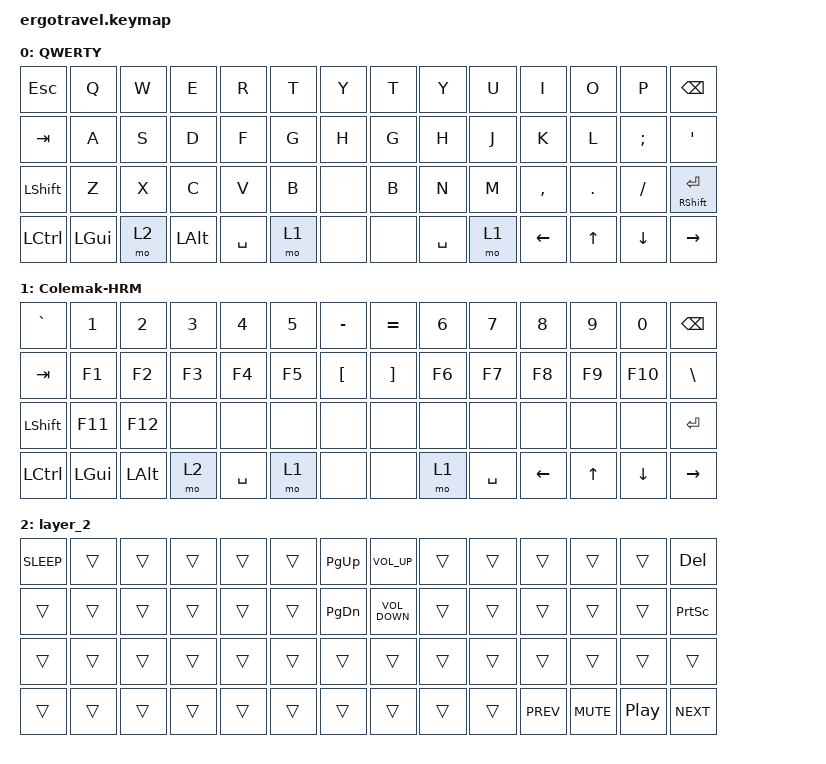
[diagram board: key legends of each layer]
// add anti-idle-mode

#include <behaviors/anti_idle_mode.dtsi>
#include <dt-bindings/anti_idle_mode.h>

// add pointing/mouse support

#define ZMK_POINTING_DEFAULT_SCRL_VAL 30    // default: 10

#include <dt-bindings/zmk/mouse.h>
#include <behaviors.dtsi>
#include <dt-bindings/zmk/keys.h>

#define QTY_HR 0    // QWERTY w/ HRM
#define QTY 1       // QWERTY
#define CMK_HR 2    // Colemak w/ HRM
#define CMK 3       // Colemak
#define CMR 4       // Colemak Reversed
#define TRN 5       // Transparent (basic querty)
#define LOW 6       // Lower
#define RSE 7       // Raise
#define ADJ 8       // Adjust
#define FUN 9       // Function/Media
#define MAX 10      // Maxtend
#define MSE 11      // Mouse
#define NSP 12      // NumSpace
#define NTB 13      // NumTab (currently unused)
#define AGR 14      // AltGr (for Windows Umlauts via Alt+Numpad)
#define AGS 15      // AltGr+Shift (for Windows uppercase Umlauts via Alt+Numpad)
#define AJ2 16      // Adjust 2 = Adjust+LShift (additional control functions)

&lt { quick-tap-ms = <200>; };

&caps_word {
    continue-list = <UNDERSCORE BACKSPACE DELETE SEMI>;

    // SEMI is added here because QWERTY semicolon is letter 'O' in Colemak. Unfortunately, it doesn't automatically get shifted.
};

/ {
    // configure anti-idle.
    // in the keymap, bind &aim AIM_ON, &aim AIM_OFF, or &aim AIM_TOG to keys as desired.

    anti_idle {
        compatible = "zmk,anti-idle-generic";
        interval-ms = <9000>; // How often to send actions (ms)
        bindings = <&mmv MOVE_DOWN &mmv MOVE_RIGHT &mmv MOVE_UP &mmv MOVE_LEFT>; // Actions to perform (e.g., mouse move)
        tap_ms = <60>;   // Duration of each action (ms)
        wait_ms = <300>; // Delay between actions (ms)
    };

    // This keymap has a distinct ADJUST button, so tri-layer functionality (LOWER + RAISE => ADJUST) is not needed, 
    // and actually prevents activating the layer using only the ADJUST button.
    //
    //    conditional_layers {
    //        compatible = "zmk,conditional-layers";
    //        tri_layer {
    //            if-layers = <LOW RSE>;
    //            then-layer = <ADJ>;
    //        };
    //    };

    behaviors {
        mup: mute_unmute_ptt {
            compatible = "zmk,behavior-hold-tap";
            #binding-cells = <2>;
            tapping-term-ms = <200>;
            flavor = "hold-preferred";
            hold-while-undecided-linger;
            bindings = <&kp>, <&kp>;
        };

        hml: hrmod_left {
            compatible = "zmk,behavior-hold-tap";
            #binding-cells = <2>;
            tapping-term-ms = <200>;
            flavor = "balanced";
            quick-tap-ms = <200>;
            require-prior-idle-ms = <100>;
            bindings = <&kp>, <&kp>;

            hold-trigger-key-positions = <7 8 9 10 11 12 13 21 22 23 24 25 26 27 36 37 38 39 40 41 46 50 51 52 53 54 55>;

            // these are all the right-side buttons
            // left-side thumb button for LOW/TAB also included (46), allowing Alt-TAB with left hand without tapping-term-ms delay.

            hold-trigger-on-release;
        };

        hmr: hrmod_right {
            compatible = "zmk,behavior-hold-tap";
            #binding-cells = <2>;
            tapping-term-ms = <200>;
            flavor = "balanced";
            quick-tap-ms = <200>;
            require-prior-idle-ms = <100>;
            bindings = <&kp>, <&kp>;

            hold-trigger-key-positions = <0 1 2 3 4 5 6 15 16 17 18 19 20 28 29 30 31 32 33 42 43 44 45 46 47>;

            // these are all the left-side buttons

            hold-trigger-on-release;
        };

        hll: hrlayer_left {
            compatible = "zmk,behavior-hold-tap";
            #binding-cells = <2>;
            tapping-term-ms = <200>;
            flavor = "balanced";
            quick-tap-ms = <200>;
            require-prior-idle-ms = <100>;
            bindings = <&mo>, <&kp>;

            hold-trigger-key-positions = <7 8 9 10 11 12 13 21 22 23 24 25 26 27 36 37 38 39 40 41 46 50 51 52 53 54 55>;

            // these are all the right-side buttons
            // left-side thumb button for LOW/TAB also included, allowing Alt-TAB with left hand without tapping-term-ms delay.

            hold-trigger-on-release;
        };

        hlr: hrlayer_right {
            compatible = "zmk,behavior-hold-tap";
            #binding-cells = <2>;
            tapping-term-ms = <200>;
            flavor = "balanced";
            quick-tap-ms = <200>;
            require-prior-idle-ms = <100>;
            bindings = <&mo>, <&kp>;

            hold-trigger-key-positions = <0 1 2 3 4 5 6 15 16 17 18 19 20 28 29 30 31 32 33 42 43 44 45 46 47>;

            // these are all the left-side buttons

            hold-trigger-on-release;
        };

        lsz: layer_tap_sz {
            // pass two parameters to this behaviour:
            // - number of layer to activate for momentary layer functionality
            // - second parameter will be ignored (e.g. just pass number 0), it will always tap &uml_sz macro

            compatible = "zmk,behavior-hold-tap";
            #binding-cells = <2>;
            tapping-term-ms = <200>;
            flavor = "balanced";
            quick-tap-ms = <200>;
            require-prior-idle-ms = <100>;
            bindings = <&mo>, <&uml_sz>;

            hold-trigger-on-release;
        };
    };

    //  key positions (for hold-trigger-key-positions):
    //  (0) TAB       (1))Q     (2) W     (3) E     (4) R        (5) T          (6) MINUS          (7) EQUAL  (8) Y          (9) U     (10) I     (11) O    (12) P     (13) BSPC
    //  (14) MAX BSPC (15) A    (16) S    (17) D    (18) F       (19) G         (20) LBKT         (21) RBKT  (22) H         (23) J     (24) K     (25) L    (26) SEMI  (27) APOS
    //  (28) LSHFT    (29) Z    (30) X    (31) C    (32) V       (33) B         (34) LC(SPACE)... (35) SPACE (36) N         (37) M     (38) COMMA (39) DOT  (40) SLASH (41) RSHFT ENTER
    //  (42) LCTRL    (43) LGUI (44) LALT (45) ADJ  (46) LOW TAB (47) MSE SPACE (48) none         (49) none  (50) NSP SPACE (51) RSE   (52) FUN   (53) RALT (54) RGUI  (55) RCTRL ENTER

    combos { compatible = "zmk,combos"; };

    macros {
        blockquote: blockquote {
            compatible = "zmk,behavior-macro";
            #binding-cells = <0>;
            bindings =
                <&macro_tap>,
                <&kp GRAVE &kp GRAVE &kp GRAVE &kp ENTER &kp ENTER &kp GRAVE &kp GRAVE &kp GRAVE &kp ENTER>,
                <&macro_tap>,
                <&kp UP &kp UP>;
        };

        uml_a: umlaut_a {
            compatible = "zmk,behavior-macro";
            #binding-cells = <0>;
            bindings =
                <&macro_press>,
                <&kp LALT>,
                <&macro_tap>,
                <&kp KP_N0 &kp KP_N2 &kp KP_N2 &kp KP_N8>,
                <&macro_release>,
                <&kp LALT>;
        };

        uml_o: umlaut_o {
            compatible = "zmk,behavior-macro";
            #binding-cells = <0>;
            bindings =
                <&macro_press>,
                <&kp LALT>,
                <&macro_tap>,
                <&kp KP_N0 &kp KP_N2 &kp KP_N4 &kp KP_N6>,
                <&macro_release>,
                <&kp LALT>;
        };

        uml_u: umlaut_u {
            compatible = "zmk,behavior-macro";
            #binding-cells = <0>;
            bindings =
                <&macro_press>,
                <&kp LALT>,
                <&macro_tap>,
                <&kp KP_N0 &kp KP_N2 &kp KP_N5 &kp KP_N2>,
                <&macro_release>,
                <&kp LALT>;
        };

        uml_sz: umlaut_sz {
            compatible = "zmk,behavior-macro";
            #binding-cells = <0>;
            bindings =
                <&macro_press>,
                <&kp LALT>,
                <&macro_tap>,
                <&kp KP_N0 &kp KP_N2 &kp KP_N2 &kp KP_N3>,
                <&macro_release>,
                <&kp LALT>;
        };

        umu_a: umlaut_a_uppercase {
            compatible = "zmk,behavior-macro";
            #binding-cells = <0>;
            bindings =
                <&macro_press>,
                <&kp LALT>,
                <&macro_tap>,
                <&kp KP_N0 &kp KP_N1 &kp KP_N9 &kp KP_N6>,
                <&macro_release>,
                <&kp LALT>;
        };

        umu_o: umlaut_o_uppercase {
            compatible = "zmk,behavior-macro";
            #binding-cells = <0>;
            bindings =
                <&macro_press>,
                <&kp LALT>,
                <&macro_tap>,
                <&kp KP_N0 &kp KP_N2 &kp KP_N1 &kp KP_N4>,
                <&macro_release>,
                <&kp LALT>;
        };

        umu_u: umlaut_u_uppercase {
            compatible = "zmk,behavior-macro";
            #binding-cells = <0>;
            bindings =
                <&macro_press>,
                <&kp LALT>,
                <&macro_tap>,
                <&kp KP_N0 &kp KP_N2 &kp KP_N2 &kp KP_N0>,
                <&macro_release>,
                <&kp LALT>;
        };
    };

    keymap {
        compatible = "zmk,keymap";

        qwerty_layer {
            display-name = "QWERTY";
            bindings = <
&kp ESCAPE        &kp Q     &kp W  &kp E         &kp R      &kp T  &kp Y        &kp T  &kp Y      &kp U  &kp I      &kp O         &kp P           &kp BSPC
&kp TAB           &kp A     &kp S  &kp D         &kp F      &kp G  &kp H        &kp G  &kp H      &kp J  &kp K      &kp L         &kp SEMI        &kp SQT
&kp LSHFT         &kp Z     &kp X  &kp C         &kp V      &kp B  &none        &kp B  &kp N      &kp M  &kp COMMA  &kp DOT       &kp SLASH       &mt RSHFT ENTER
&kp LEFT_CONTROL  &kp LGUI  &mo 2  &kp LEFT_ALT  &kp SPACE  &mo 1  &none        &none  &kp SPACE  &mo 1  &kp LEFT   &kp UP_ARROW  &kp DOWN_ARROW  &kp RIGHT
            >;
        };

        Layer1 {
            display-name = "Colemak-HRM";
            bindings = <
&kp GRAVE       &kp NUMBER_1  &kp NUMBER_2  &kp NUMBER_3  &kp NUMBER_4  &kp N5  &kp MINUS               &kp EQUAL          &kp NUMBER_6  &kp N7     &kp N8          &kp N9        &kp N0    &kp BSPC
&kp TAB         &kp F1        &kp F2        &kp F3        &kp F4        &kp F5  &kp LEFT_BRACKET        &kp RIGHT_BRACKET  &kp F6        &kp F7     &kp F8          &kp F9        &kp F10   &kp BACKSLASH
&kp LEFT_SHIFT  &kp F11       &kp F12       &none         &none         &none   &none                   &none              &none         &none      &none           &none         &none     &kp ENTER
&kp LCTRL       &kp LGUI      &kp LALT      &mo 2         &kp SPACE     &mo 1   &none                   &none              &mo 1         &kp SPACE  &kp LEFT_ARROW  &kp UP_ARROW  &kp DOWN  &kp RIGHT
            >;
        };

        // The following two layers generate Colemak AltGr and Colemak AltGr-Shift international characters using Windows Alt+Numpad keystrokes.
        // Each key needs to be bound to a macro that sends the Alt+Numpad scancodes. You'll need lots of macros for this.
        // At the moment, only German Umlauts äöü, shifted German Umlauts ÄÖÜ and German "scharfes S" ß have been created.
        // ß (rewritten as "sz" in ASCII) has a very special binding because it functions as a layer shift when held, but needs to call
        // the uml_sz macro when tapped.

        layer_2 {
            bindings = <
&kp C_SLEEP  &trans  &trans  &trans  &trans  &trans  &kp PAGE_UP          &kp C_VOLUME_UP    &trans  &trans  &trans      &trans      &trans            &kp DELETE
&trans       &trans  &trans  &trans  &trans  &trans  &kp PAGE_DOWN        &kp C_VOLUME_DOWN  &trans  &trans  &trans      &trans      &trans            &kp PRINTSCREEN
&trans       &trans  &trans  &trans  &trans  &trans  &trans               &trans             &trans  &trans  &trans      &trans      &trans            &trans
&trans       &trans  &trans  &trans  &trans  &trans  &trans               &trans             &trans  &trans  &kp C_PREV  &kp C_MUTE  &kp C_PLAY_PAUSE  &kp C_NEXT
            >;
        };
    };
};
